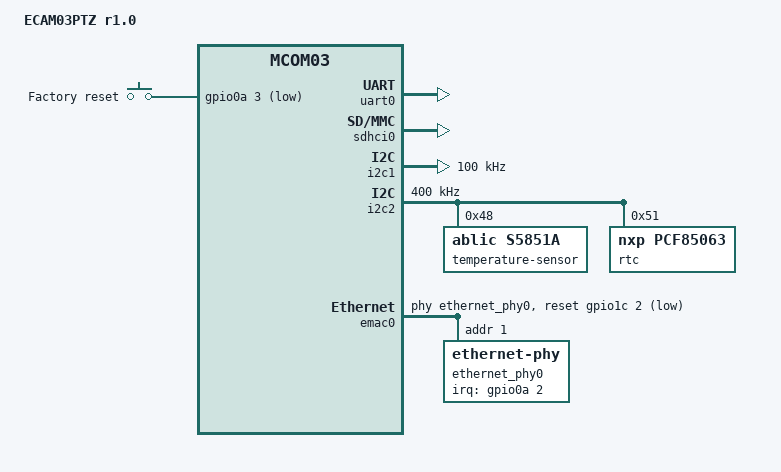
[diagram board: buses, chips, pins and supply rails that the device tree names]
// SPDX-License-Identifier: GPL-2.0+
/*
 * Copyright 2022 RnD Center "ELVEES", JSC
 */

/dts-v1/;

#include <dt-bindings/gpio/gpio.h>
#include <dt-bindings/input/input.h>

#include "mcom03.dtsi"

/ {
	model = "ECAM03PTZ r1.0";
	compatible = "elvees,ecam03ptz-r1.0",
		     "elvees,ecam03ptz",
		     "elvees,mcom03";

	aliases {
		serial0 = &uart0;
	};

	chosen {
		stdout-path = "serial0:115200n8";
	};

	gpio-keys {
		compatible = "gpio-keys";

		factory-reset {
			label = "Factory reset";
			gpios = <&gpio0a 3 GPIO_ACTIVE_LOW>;
			linux,code = <KEY_VENDOR>;
		};
	};

	/delete-node/ sdr@1900000;
};

&gpio0a {
	gpio-line-names = "UART3_RX", "UART3_TX", "ETH_INT", "FACTORY_RST",
		"ALIN1", "ALIN2", "RTC_INT", "";
};

&gpio0b {
	gpio-line-names = "FAN_EN", "", "UART3_DE", "UART3_RE", "",
		"UART1_RX", "UART1_TX", "";
};

&gpio0d {
	gpio-line-names = "", "", "", "", "", "",
		"ALOUT1", "ALOUT2";
};

&gpio1a {
	gpio-line-names = "I2C1_SCL", "I2C1_SDA", "I2C2_SCL", "I2C2_SDA",
		"", "", "MCU_GPIO", "";
};

&gpio1b {
	gpio-line-names = "I2S0_SCK", "I2S0_LRCK", "I2S0_SDO0", "",
		"I2S0_SDI0", "I2S0_SCLK", "UART0_TX", "UART0_RX";
};

&gpio1c {
	gpio-line-names = "DDR0_PWREN", "DDR1_PWREN", "ETH_RSTn", "QSPI0_nRST",
		"", "VdS_RSTn", "VdS_PWRDN", "MCU_RSTn";
};

&uart0 {
	status = "okay";
};

&hsperiph_pinctrl {
	pinctrl-0 = <&hsperiph_misc_default &emac_v18>;
};

/* Connected to MicroSD card */
&sdhci0 {
	status = "okay";

	/* Disable 1.8V support
	 * Disable SDR50, SDR104 and DDR50 support
	 */
	sdhci-caps-mask = <0x7 0x4000000>;
	sdhci-caps = <0x0 0x0>;
};

&i2c1 {
	/* Connected to connector. Some external devices may not support
	 * for 400kHz */
	clock-frequency = <100000>;
	status = "okay";
};

&i2c2 {
	clock-frequency = <400000>;
	status = "okay";

	temperature-sensor@48 {
		compatible = "ablic,s5851a";
		reg = <0x48>;
	};

	rtc@51 {
		compatible = "nxp,pcf85063";
		reg = <0x51>;
	};
};

&emac0 {
	status = "okay";
	phy-handle = <&ethernet_phy0>;
	reset-gpios = <&gpio1c 2 GPIO_ACTIVE_LOW>;
	reset-post-delay-us = <400000>;

	ethernet_phy0: ethernet-phy@1 {
		reg = <0x1>;
		/* This is max GTX_CLK skew (0b11111 * 60ps/step)
		 * for KSZ9031 Ethernet PHY
		 */
		txc-skew-ps = <1860>;
		interrupt-parent = <&gpio0a>;
		interrupts = <2 IRQ_TYPE_LEVEL_LOW>;
	};
};
